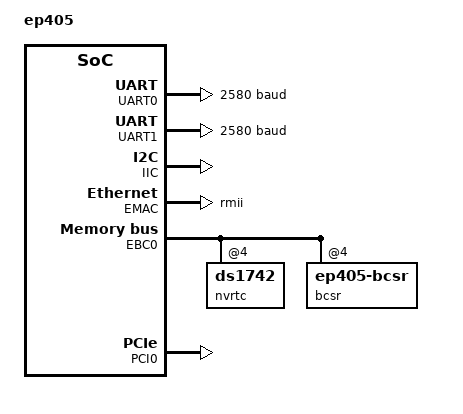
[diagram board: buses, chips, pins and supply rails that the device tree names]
/*
 * Device Tree Source for EP405
 *
 * Copyright 2007 IBM Corp.
 * Benjamin Herrenschmidt <benh@kernel.crashing.org>
 *
 * This file is licensed under the terms of the GNU General Public
 * License version 2.  This program is licensed "as is" without
 * any warranty of any kind, whether express or implied.
 */

/ {
	#address-cells = <1>;
	#size-cells = <1>;
	model = "ep405";
	compatible = "ep405";
	dcr-parent = <&/cpus/cpu@0>;

	aliases {
		ethernet0 = &EMAC;
		serial0 = &UART0;
		serial1 = &UART1;
	};

	cpus {
		#address-cells = <1>;
		#size-cells = <0>;

		cpu@0 {
			device_type = "cpu";
			model = "PowerPC,405GP";
			reg = <0>;
			clock-frequency = <bebc200>; /* Filled in by zImage */
			timebase-frequency = <0>; /* Filled in by zImage */
			i-cache-line-size = <20>;
			d-cache-line-size = <20>;
			i-cache-size = <4000>;
			d-cache-size = <4000>;
			dcr-controller;
			dcr-access-method = "native";
		};
	};

	memory {
		device_type = "memory";
		reg = <0 0>; /* Filled in by zImage */
	};

	UIC0: interrupt-controller {
		compatible = "ibm,uic";
		interrupt-controller;
		cell-index = <0>;
		dcr-reg = <0c0 9>;
		#address-cells = <0>;
		#size-cells = <0>;
		#interrupt-cells = <2>;
	};

	plb {
		compatible = "ibm,plb3";
		#address-cells = <1>;
		#size-cells = <1>;
		ranges;
		clock-frequency = <0>; /* Filled in by zImage */

		SDRAM0: memory-controller {
			compatible = "ibm,sdram-405gp";
			dcr-reg = <010 2>;
		};

		MAL: mcmal {
			compatible = "ibm,mcmal-405gp", "ibm,mcmal";
			dcr-reg = <180 62>;
			num-tx-chans = <1>;
			num-rx-chans = <1>;
			interrupt-parent = <&UIC0>;
			interrupts = <
				b 4 /* TXEOB */
				c 4 /* RXEOB */
				a 4 /* SERR */
				d 4 /* TXDE */
				e 4 /* RXDE */>;
		};

		POB0: opb {
			compatible = "ibm,opb-405gp", "ibm,opb";
			#address-cells = <1>;
			#size-cells = <1>;
			ranges = <ef600000 ef600000 a00000>;
			dcr-reg = <0a0 5>;
			clock-frequency = <0>; /* Filled in by zImage */

			UART0: serial@ef600300 {
				device_type = "serial";
				compatible = "ns16550";
				reg = <ef600300 8>;
				virtual-reg = <ef600300>;
				clock-frequency = <0>; /* Filled in by zImage */
				current-speed = <2580>;
				interrupt-parent = <&UIC0>;
				interrupts = <0 4>;
			};

			UART1: serial@ef600400 {
				device_type = "serial";
				compatible = "ns16550";
				reg = <ef600400 8>;
				virtual-reg = <ef600400>;
				clock-frequency = <0>; /* Filled in by zImage */
				current-speed = <2580>;
				interrupt-parent = <&UIC0>;
				interrupts = <1 4>;
			};

			IIC: i2c@ef600500 {
				compatible = "ibm,iic-405gp", "ibm,iic";
				reg = <ef600500 11>;
				interrupt-parent = <&UIC0>;
				interrupts = <2 4>;
			};

			GPIO: gpio@ef600700 {
				compatible = "ibm,gpio-405gp";
				reg = <ef600700 20>;
			};

			EMAC: ethernet@ef600800 {
				linux,network-index = <0>;
				device_type = "network";
				compatible = "ibm,emac-405gp", "ibm,emac";
				interrupt-parent = <&UIC0>;
				interrupts = <
					f 4 /* Ethernet */
					9 4 /* Ethernet Wake Up */>;
				local-mac-address = [000000000000]; /* Filled in by zImage */
				reg = <ef600800 70>;
				mal-device = <&MAL>;
				mal-tx-channel = <0>;
				mal-rx-channel = <0>;
				cell-index = <0>;
				max-frame-size = <5dc>;
				rx-fifo-size = <1000>;
				tx-fifo-size = <800>;
				phy-mode = "rmii";
				phy-map = <00000000>;
			};

		};

		EBC0: ebc {
			compatible = "ibm,ebc-405gp", "ibm,ebc";
			dcr-reg = <012 2>;
			#address-cells = <2>;
			#size-cells = <1>;


			/* The ranges property is supplied by the bootwrapper
			 * and is based on the firmware's configuration of the
			 * EBC bridge
			 */
			clock-frequency = <0>; /* Filled in by zImage */

			/* NVRAM and RTC */
			nvrtc@4,200000 {
				compatible = "ds1742";
				reg = <4 200000 0>; /* size fixed up by zImage */
			};

			/* "BCSR" CPLD contains a PCI irq controller */
			bcsr@4,0 {
				compatible = "ep405-bcsr";
				reg = <4 0 10>;
				interrupt-controller;
				/* Routing table */
				irq-routing = [	00	/* SYSERR */
						01	/* STTM */
						01	/* RTC */
						01	/* FENET */
						02	/* NB PCIIRQ mux ? */
						03	/* SB Winbond 8259 ? */
						04	/* Serial Ring */
						05	/* USB (ep405pc) */
						06	/* XIRQ 0 */
						06	/* XIRQ 1 */
						06	/* XIRQ 2 */
						06	/* XIRQ 3 */
						06	/* XIRQ 4 */
						06	/* XIRQ 5 */
						06	/* XIRQ 6 */
						07];	/* Reserved */
			};
		};

		PCI0: pci@ec000000 {
			device_type = "pci";
			#interrupt-cells = <1>;
			#size-cells = <2>;
			#address-cells = <3>;
			compatible = "ibm,plb405gp-pci", "ibm,plb-pci";
			primary;
			reg = <eec00000 8	/* Config space access */
			       eed80000 4	/* IACK */
			       eed80000 4	/* Special cycle */
			       ef480000 40>;	/* Internal registers */

			/* Outbound ranges, one memory and one IO,
			 * later cannot be changed. Chip supports a second
			 * IO range but we don't use it for now
			 */
			ranges = <02000000 0 80000000 80000000 0 20000000
				  01000000 0 00000000 e8000000 0 00010000>;

			/* Inbound 2GB range starting at 0 */
			dma-ranges = <42000000 0 0 0 0 80000000>;

			/* That's all I know about IRQs on that thing ... */
			interrupt-map-mask = <f800 0 0 0>;
			interrupt-map = <
				/* USB */
				7000 0 0 0 &UIC0 1e 8 /* IRQ5 */
			>;
		};
	};

	chosen {
		linux,stdout-path = "/plb/opb/serial@ef600300";
	};
};
